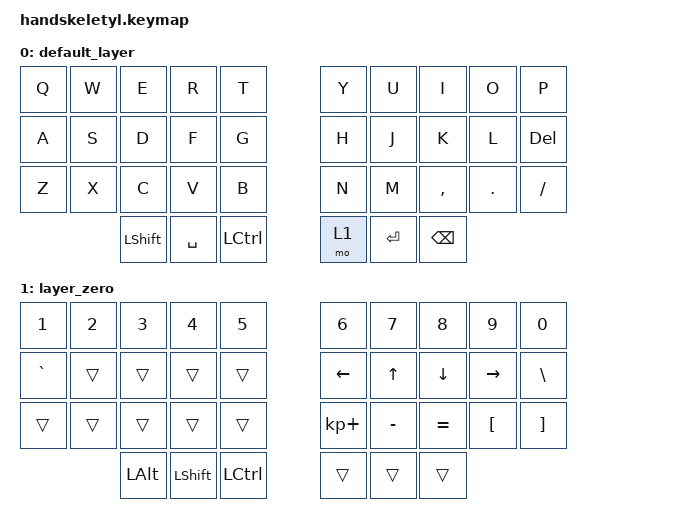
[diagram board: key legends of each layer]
#include <behaviors.dtsi>
#include <dt-bindings/zmk/keys.h>
#include <dt-bindings/zmk/bt.h>
#include <dt-bindings/zmk/ext_power.h>

/ {
        keymap {
            compatible = "zmk,keymap";

            default_layer {
// |  Q   |  W   |  E   |  R   |  T   |                        |  Y   |  U   |  I   |  O   |  P   |
// |  A   |  S   |  D   |  F   |  G   |                        |  H   |  J   |  K   |  L   | DEL  |
// |  Z   |  X   |  C   |  V   |  B   |                        |  N   |  M   |  ,   |  .   |  /   |
//                      | SHFT | SPC  | CTRL |          | mo1  | ENT  | BSPC |
            bindings = <
  &kp Q &kp W &kp E &kp R &kp T                               &kp Y &kp U &kp I &kp O &kp P
  &kp A &kp S &kp D &kp F &kp G                               &kp H &kp J &kp K &kp L &kp DEL
  &kp Z &kp X &kp C &kp V &kp B                               &kp N &kp M &kp COMMA &kp DOT &kp FSLH
                    &kp LSHIFT &kp SPACE &kp LCTRL      &mo 1 &kp RET &kp BSPC 
            >;
                &out OUT_BLE
            };

            layer_zero {

// |  1   |  2   |  3   |  4   |  5   |                        |  6   |  7   |  8   |  9   |  0   |
// |  `   |  _   |  _   |  _   |  _   |                        |  <-  |  ^   |  v   |  ->  |  \   |
// |  _   |  _   |  _   |  _   |  _   |                        |  +   |  -   |  =   |  [   |   ]  |
//                      | ALT  | SHFT | CTRL |          |   _  |  _   |  _   |
            bindings = <
  &kp N1 &kp N2 &kp N3 &kp N4 &kp N5                          &kp N6 &kp N7 &kp N8 &kp N9 &kp N0
  &kp GRAVE &trans &trans &trans &trans                       &kp LEFT &kp UP &kp DOWN &kp RIGHT &kp BSLH
  &trans &trans &trans &trans &trans                          &kp KP_PLUS &kp MINUS &kp EQUAL &kp LBKT &kp RBKT
                    &kp LALT &kp LSHIFT &kp LCTRL       &trans &trans &trans 
            >;
                &out OUT_BLE
            };
        };
};
